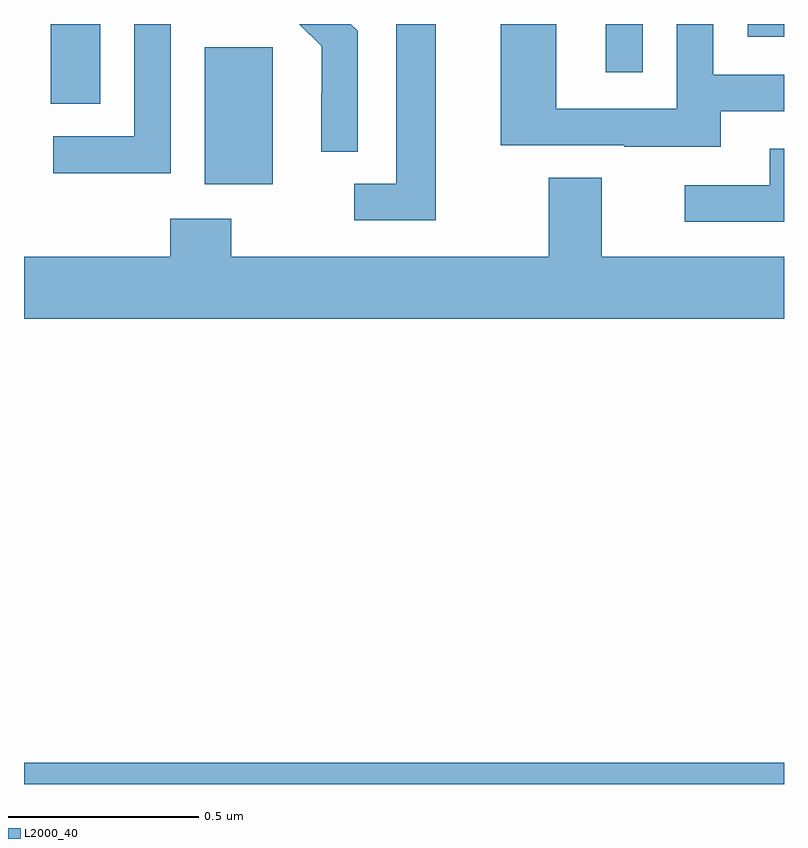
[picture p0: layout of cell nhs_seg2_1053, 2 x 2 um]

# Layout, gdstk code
import gdstk
lib = gdstk.Library(unit=1e-6, precision=1e-09)
def R(c, l, rs):  # rectangles x0, y0, x1, y1
    for r in rs: c.add(gdstk.rectangle(r[:2], r[2:], *l))
def P(c, l, *ps):  # polygons
    for p in ps: c.add(gdstk.Polygon(p, *l))
L2000_40 = (2000, 40)

nhs_seg2_1053 = lib.new_cell('nhs_seg2_1053')
R(nhs_seg2_1053, L2000_40, [(124,591.8,126,591.856), (124.475,593.378,124.654,593.739), (124.07,593.59,124.201,593.8), (125.531,593.673,125.628,593.8), (125.904,593.766,126,593.8)])
P(nhs_seg2_1053, L2000_40, [(124.386,593.8),(124.29,593.8),(124.29,593.505),(124.077,593.505),(124.077,593.407),(124.386,593.407)],
  [(124.878,593.782),(124.86,593.8),(124.724,593.8),(124.784,593.741),(124.784,593.618),(124.782,593.618),(124.782,593.464),(124.878,593.464)],
  [(125.083,593.8),(124.979,593.8),(124.979,593.379),(124.869,593.379),(124.869,593.283),(125.083,593.283)],
  [(125.833,593.571),(126,593.571),(126,593.667),(125.814,593.667),(125.814,593.8),(125.718,593.8),(125.718,593.577),(125.4,593.577),(125.4,593.8),(125.255,593.8),(125.255,593.481),(125.579,593.481),(125.579,593.477),(125.833,593.477)],
  [(126,593.472),(125.963,593.472),(125.963,593.376),(125.739,593.376),(125.739,593.28),(126,593.28)],
  [(126,593.188),(125.521,593.188),(125.521,593.396),(125.381,593.396),(125.381,593.188),(124.545,593.188),(124.545,593.287),(124.385,593.287),(124.385,593.188),(124,593.188),(124,593.024),(126,593.024)])

lib.write_gds('nhs_seg2_1053.gds')
